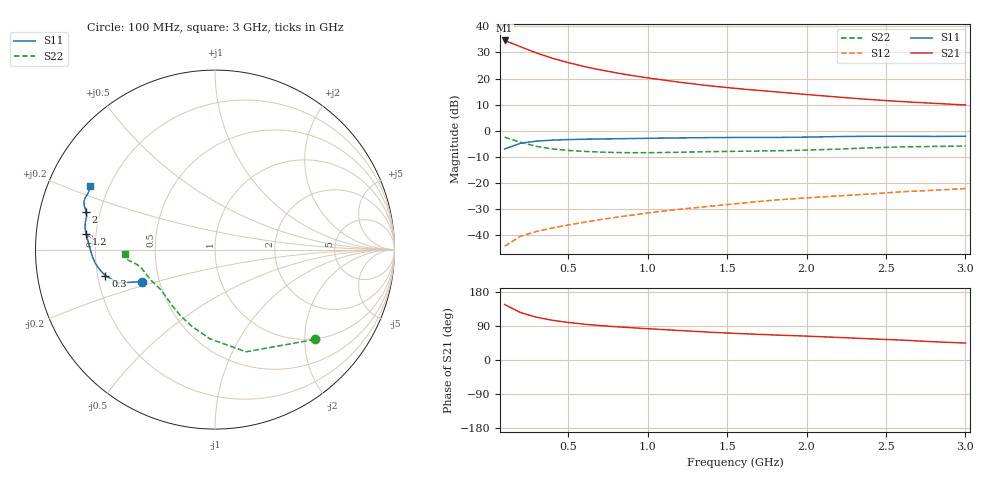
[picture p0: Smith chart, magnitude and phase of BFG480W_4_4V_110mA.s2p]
! Filename: 4_4110BFG480.001
! Title: BFG480W
! Bias: Vce=4.4V; Ic=110mA
! Company: Philips Semiconductors NL
! User: Quality&Reliability T&D
! Measure time: 10 Nov 1999 / 12:07:16
#  MHz  S  MA  R 50
! Freq  S11  S21  S12  S22  :
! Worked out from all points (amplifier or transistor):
!   20 points, 100 MHz to 3 GHz, reference 50 ohm
!   highest |S21| = 34.6 dB at 100 MHz (marker M1)
!   |S21| within 3 dB of that: start of sweep to 224.5 MHz
!   unconditionally stable (mu >= 1): 687.5 MHz to end of sweep
!   at 400 MHz: K = 0.83, MSG = 32.6 dB, |S12| = -37.4 dB
!   at 1.2 GHz: K = 1.08, MAG = 22.7 dB, |S12| = -30.2 dB
!   at 3 GHz: K = 1.05, MAG = 14.7 dB, |S12| = -22.3 dB
!   S11 on the Smith chart (normalised r, x): 100 MHz: 0.40, -0.18; 300 MHz: 0.23, -0.11; 1.2 GHz: 0.16, +0.06; 2 GHz: 0.15, +0.14; 3 GHz: 0.13, +0.24
100  0.4438 -156.2  53.79 146.5  0.006032 68.8  0.7477 -42.0
200  0.5713 -161.1  40.72 125.2  0.009342 60.4  0.5952 -73.1
300  0.6275 -166.6  30.98 112.9  0.01155 59.7  0.498 -93.2
400  0.6556 -170.6  24.54 104.9  0.01345 61.5  0.4452 -107.2
500  0.672 -173.7  20.18 99.0  0.01541 63.9  0.4159 -117.3
600  0.6825 -176.3  17.02 94.6  0.01735 66.0  0.3983 -124.7
700  0.6898 -178.5  14.7 90.9  0.01944 68.0  0.3869 -130.5
800  0.6962 179.5  12.89 87.8  0.0216 69.6  0.3798 -135.4
900  0.7038 177.6  11.45 85.1  0.02378 71.5  0.3761 -139.6
1000  0.7101 175.9  10.29 82.6  0.02621 72.6  0.3761 -143.4
1200  0.7239 172.9  8.49 77.9  0.03084 74.1  0.3836 -149.4
1400  0.7337 170.7  7.186 73.2  0.0354 75.0  0.3943 -153.9
1600  0.7384 168.3  6.266 69.4  0.04065 75.7  0.4012 -157.3
1800  0.7384 165.7  5.568 66.0  0.04638 76.2  0.4092 -161.0
2000  0.7485 163.6  4.93 63.0  0.05102 76.9  0.4209 -165.4
2200  0.7685 161.4  4.4 59.5  0.05572 76.6  0.4411 -169.1
2400  0.7782 159.7  3.943 55.9  0.06059 76.1  0.4661 -171.4
2600  0.7781 158.1  3.604 52.5  0.06674 75.5  0.4861 -172.9
2800  0.7735 155.8  3.342 48.1  0.07153 74.0  0.4961 -174.6
3000  0.7783 153.1  3.103 44.7  0.07691 73.2  0.5041 -177.5
